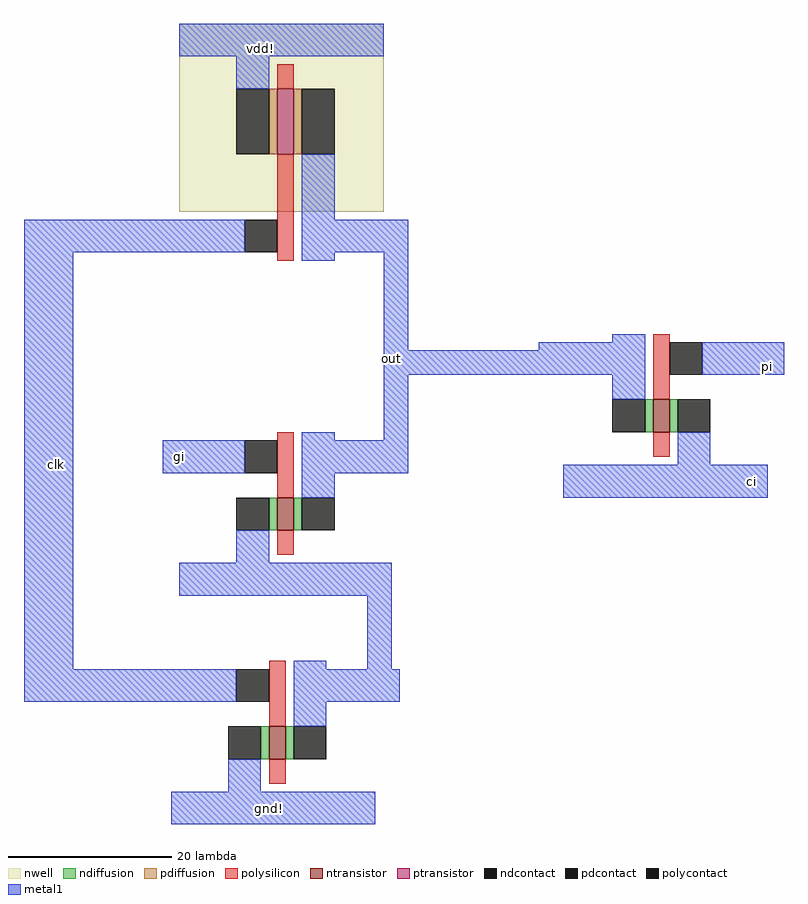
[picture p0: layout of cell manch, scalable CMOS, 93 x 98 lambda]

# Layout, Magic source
magic
tech scmos
<< metal1 >>
rect -17 1 3 5
rect -17 -50 -11 1
rect 27 -11 30 4
rect 27 -14 46 -11
rect 27 -26 30 -14
rect -17 -54 1 -50
rect 25 -53 28 -37
use nmos  nmos_2
transform -1 0 66 0 1 -4
box -10 -25 20 -5
use nmos  nmos_1
transform 1 0 9 0 1 -44
box -10 -25 20 -5
use nmos  nmos_0
transform 1 0 10 0 1 -16
box -10 -25 20 -5
use pmos  pmos_0
transform 1 0 10 0 1 11
box -10 -11 20 18
<< labels >>
rlabel space 2 -24 2 -24 3 gi
rlabel space 12 26 12 26 5 vdd!
rlabel space 13 -67 13 -67 1 gnd!
rlabel metal1 -13 -25 -13 -25 3 clk
rlabel space 74 -13 74 -13 7 pi
rlabel space 72 -27 72 -27 7 ci
rlabel metal1 28 -12 28 -12 1 out
<< end >>

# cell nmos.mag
magic
tech scmos
<< ntransistor >>
rect 4 -17 6 -13
<< ndiffusion >>
rect 3 -17 4 -13
rect 6 -17 7 -13
<< ndcontact >>
rect -1 -17 3 -13
rect 7 -17 11 -13
<< polysilicon >>
rect 4 -13 6 -5
rect 4 -20 6 -17
<< polycontact >>
rect 0 -10 4 -6
<< metal1 >>
rect 7 -6 11 -5
rect -10 -10 0 -6
rect 7 -10 20 -6
rect 7 -13 11 -10
rect -1 -21 3 -17
rect -8 -25 17 -21
<< end >>

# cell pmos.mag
magic
tech scmos
<< nwell >>
rect -8 -5 17 18
<< ptransistor >>
rect 4 2 6 10
<< pdiffusion >>
rect 3 2 4 10
rect 6 2 7 10
<< pdcontact >>
rect -1 2 3 10
rect 7 2 11 10
<< polysilicon >>
rect 4 10 6 13
rect 4 -11 6 2
<< polycontact >>
rect 0 -10 4 -6
<< metal1 >>
rect -8 14 17 18
rect -1 10 3 14
rect 7 -6 11 2
rect -10 -10 0 -6
rect 7 -10 20 -6
rect 7 -11 11 -10
<< end >>
